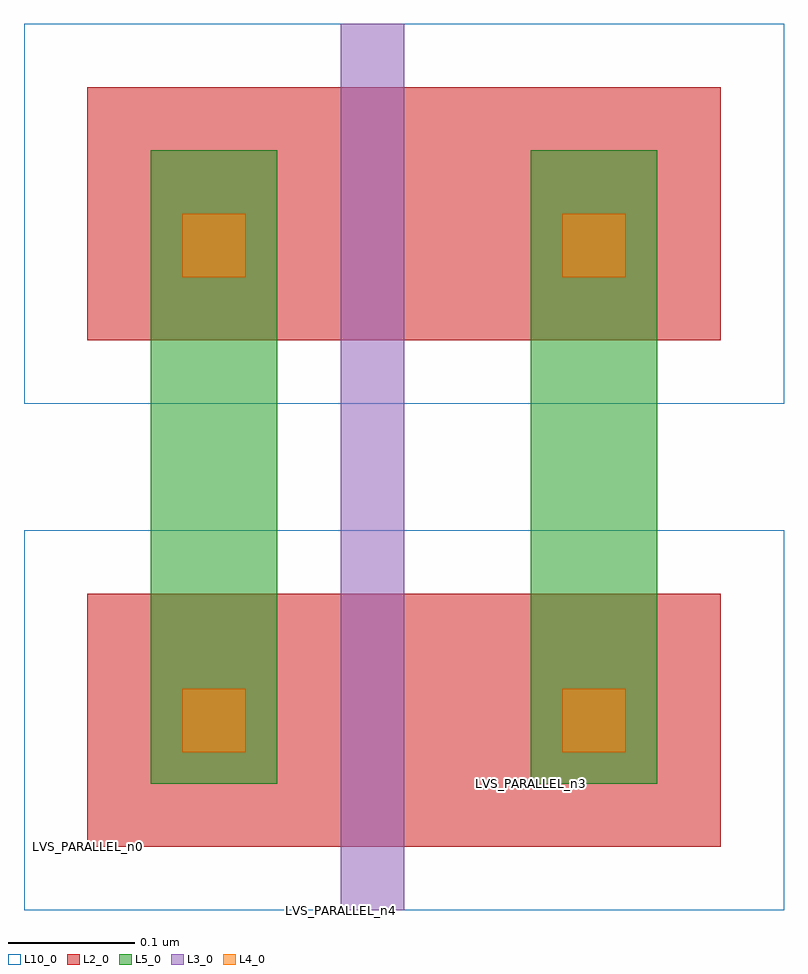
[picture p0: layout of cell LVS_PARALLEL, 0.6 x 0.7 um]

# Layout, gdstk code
import gdstk
lib = gdstk.Library(unit=1e-6, precision=1e-09)
def R(c, l, rs):  # rectangles x0, y0, x1, y1
    for r in rs: c.add(gdstk.rectangle(r[:2], r[2:], *l))
L2_0 = (2, 0)
L3_0 = (3, 0)
L4_0 = (4, 0)
L5_0 = (5, 0)
L10_0 = (10, 0)

lvs_parallel = lib.new_cell('LVS_PARALLEL')
R(lvs_parallel, L2_0, [(0,0,0.5,0.2), (0,0.4,0.5,0.6)])
R(lvs_parallel, L3_0, [(0.2,-0.05,0.25,0.65)])
R(lvs_parallel, L4_0, [(0.075,0.075,0.125,0.125), (0.375,0.075,0.425,0.125), (0.075,0.45,0.125,0.5), (0.375,0.45,0.425,0.5)])
R(lvs_parallel, L5_0, [(0.05,0.05,0.15,0.55), (0.35,0.05,0.45,0.55)])
R(lvs_parallel, L10_0, [(-0.05,-0.05,0.55,0.25), (-0.05,0.35,0.55,0.65)])
lvs_parallel.add(gdstk.Label('LVS_PARALLEL_n0', (0,0), layer=2, texttype=5))
lvs_parallel.add(gdstk.Label('LVS_PARALLEL_n3', (0.35,0.05), layer=5, texttype=5))
lvs_parallel.add(gdstk.Label('LVS_PARALLEL_n4', (0.2,-0.05), layer=3, texttype=5))

lib.write_gds('LVS_PARALLEL.gds')
